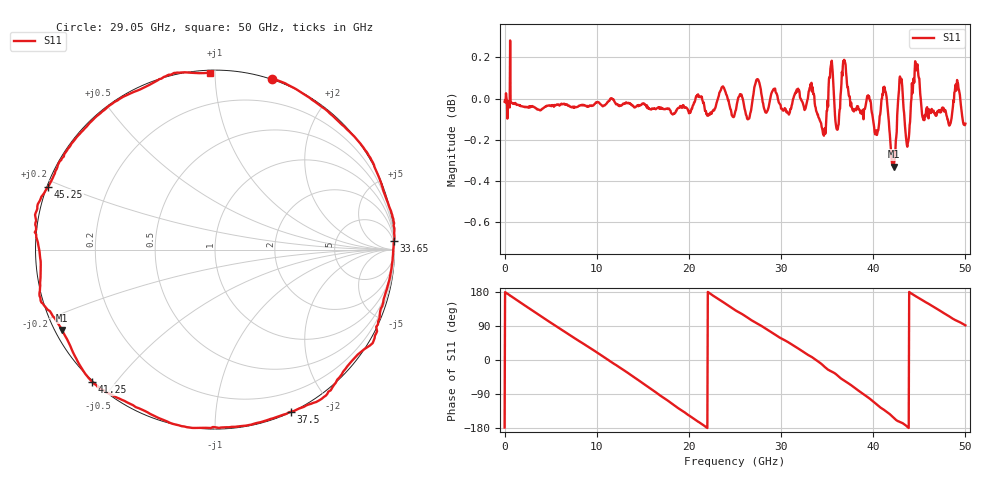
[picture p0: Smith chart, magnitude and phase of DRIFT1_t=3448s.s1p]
!Created with skrf (http://scikit-rf.org).
# Hz S RI R 50.0
!freq ReS11 ImS11
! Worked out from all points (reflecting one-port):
!   1001 points, 300 kHz to 50 GHz, reference 50 ohm
!   lowest |S11| = -0.3 dB at 42.2 GHz (marker M1), VSWR 52.56, Z = 1.01 - j12.4 ohm
!   phase of S11 starts at -178 deg and turns -810 deg over the sweep
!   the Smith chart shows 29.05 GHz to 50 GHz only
!   S11 on the Smith chart (normalised r, x): 29.05 GHz: -0.01, +1.38; 33.65 GHz: 2, +41; 37.5 GHz: 0.00, -1.57; 41.25 GHz: -0.00, -0.44; 45.25 GHz: 0.00, +0.18; 50 GHz: 0.01, +0.97
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300000  -0.9978 -0.0301
1.60029e9  -0.893 0.4419
3.40028e9  -0.56 0.8218
6.250262e9  0.1946 0.9778
9.550243e9  0.8885 0.4502
1.110023e10  0.9964 0.045
1.250022e10  0.9365 -0.3388
1.415022e10  0.6776 -0.7287
1.580021e10  0.2589 -0.9597
1.73002e10  -0.1818 -0.9773
1.875019e10  -0.5814 -0.8066
2.050018e10  -0.9027 -0.4223
2.170017e10  -0.9895 -0.1002
2.345016e10  -0.9247 0.3926
2.500015e10  -0.6599 0.7407
2.725014e10  -0.1503 0.9977
2.905013e10  0.3157 0.9532
3.125011e10  0.767 0.6391
3.36501e10  0.9963 0.048
3.555009e10  0.8711 -0.5277
3.750008e10  0.4225 -0.9039
3.945006e10  -0.1553 -0.9897
4.125005e10  -0.6844 -0.7367
4.220005e10  -0.8518 -0.4485
4.375004e10  -0.9744 -0.0444
4.525003e10  -0.9307 0.3504
4.770001e10  -0.5433 0.8309
5e10  -0.0253 0.9857
